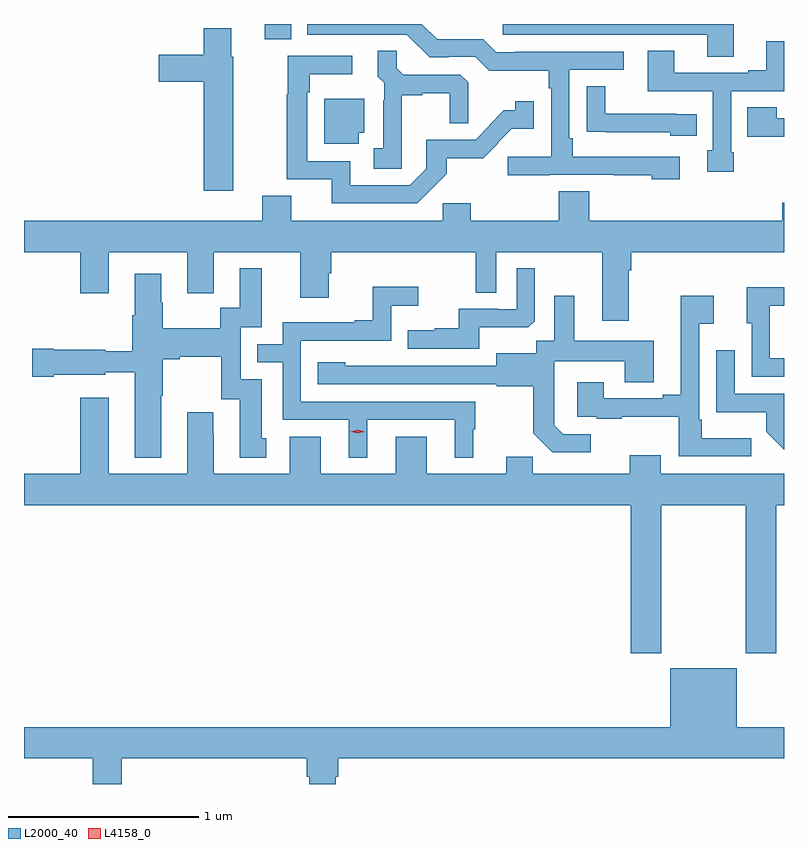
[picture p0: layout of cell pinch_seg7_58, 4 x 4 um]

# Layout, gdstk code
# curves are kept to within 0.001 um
import gdstk
lib = gdstk.Library(unit=1e-6, precision=1e-09)
def R(c, l, rs):  # rectangles x0, y0, x1, y1
    for r in rs: c.add(gdstk.rectangle(r[:2], r[2:], *l))
def P(c, l, *ps):  # polygons
    for p in ps: c.add(gdstk.Polygon(p, *l))
L2000_40 = (2000, 40)
L4158_0 = (4158, 0)

pinch_seg7_58 = lib.new_cell('pinch_seg7_58')
R(pinch_seg7_58, L2000_40, [(890.723,1052.352,890.863,1052.432)])
P(pinch_seg7_58, L2000_40, [(893.191,1052.432),(891.975,1052.432),(891.975,1052.376),(893.051,1052.376),(893.051,1052.26),(893.191,1052.26)],
  [(892.906,1051.734),(892.343,1051.734),(892.343,1051.831),(892.326,1051.831),(892.326,1052.19),(892.612,1052.19),(892.612,1052.286),(892.042,1052.286),(892.042,1052.283),(891.942,1052.283),(891.873,1052.352),(891.63,1052.352),(891.55,1052.432),(890.948,1052.432),(890.948,1052.376),(891.471,1052.376),(891.591,1052.256),(891.692,1052.256),(891.692,1052.259),(891.831,1052.259),(891.904,1052.186),(892.218,1052.186),(892.218,1052.093),(892.23,1052.093),(892.23,1051.735),(892.002,1051.734),(892.002,1051.636),(892.223,1051.636),(892.223,1051.638),(892.561,1051.638),(892.561,1051.636),(892.761,1051.636),(892.761,1051.616),(892.906,1051.616)],
  [(890.556,1052.259),(890.548,1052.259),(890.548,1052.41),(890.402,1052.41),(890.402,1052.271),(890.166,1052.271),(890.166,1052.129),(890.402,1052.129),(890.402,1051.554),(890.556,1051.554)],
  [(893.191,1051.758),(893.178,1051.758),(893.178,1052.079),(893.456,1052.079),(893.456,1052.341),(893.363,1052.341),(893.363,1052.188),(893.267,1052.188),(893.267,1052.175),(892.879,1052.175),(892.879,1052.291),(892.739,1052.291),(892.739,1052.079),(893.082,1052.079),(893.082,1051.768),(893.051,1051.768),(893.051,1051.654),(893.191,1051.654)],
  [(891.444,1052.058),(891.553,1052.058),(891.553,1052.068),(891.698,1052.068),(891.698,1051.909),(891.794,1051.909),(891.794,1052.125),(891.753,1052.166),(891.451,1052.166),(891.417,1052.2),(891.417,1052.291),(891.319,1052.291),(891.319,1052.155),(891.351,1052.123),(891.351,1052.03),(891.348,1052.03),(891.348,1051.779),(891.297,1051.779),(891.297,1051.669),(891.444,1051.669)],
  [(891.682,1051.643),(891.682,1051.726),(891.874,1051.726),(891.952,1051.805),(891.95,1051.808),(892.022,1051.88),(892.14,1051.88),(892.14,1052.026),(892.042,1052.026),(892.042,1051.978),(891.982,1051.978),(891.905,1051.9),(891.908,1051.898),(891.834,1051.824),(891.573,1051.824),(891.573,1051.671),(891.486,1051.584),(891.174,1051.584),(891.174,1051.71),(890.946,1051.71),(890.946,1052.072),(890.959,1052.072),(890.959,1052.168),(891.184,1052.168),(891.184,1052.265),(890.845,1052.265),(890.845,1052.062),(890.838,1052.062),(890.838,1051.614),(891.077,1051.614),(891.077,1051.488),(891.526,1051.488)],
  [(892.997,1051.957),(892.889,1051.957),(892.889,1051.959),(892.515,1051.959),(892.515,1052.105),(892.417,1052.105),(892.417,1051.864),(892.519,1051.864),(892.519,1051.863),(892.857,1051.863),(892.857,1051.844),(892.997,1051.844)],
  [(891.219,1051.86),(891.247,1051.86),(891.247,1052.038),(891.035,1052.038),(891.035,1051.803),(891.219,1051.803)],
  [(893.456,1051.935),(893.417,1051.935),(893.417,1051.994),(893.263,1051.994),(893.263,1051.839),(893.456,1051.839)],
  [(892.639,1051.136),(892.652,1051.136),(892.652,1051.232),(893.456,1051.232),(893.456,1051.492),(893.447,1051.492),(893.447,1051.396),(892.43,1051.396),(892.43,1051.553),(892.27,1051.553),(892.27,1051.396),(891.807,1051.396),(891.807,1051.489),(891.66,1051.489),(891.66,1051.396),(890.863,1051.396),(890.863,1051.529),(890.711,1051.529),(890.711,1051.396),(889.456,1051.396),(889.456,1051.232),(889.751,1051.232),(889.751,1051.014),(889.903,1051.014),(889.903,1051.232),(890.315,1051.232),(890.315,1051.014),(890.455,1051.014),(890.455,1051.232),(890.909,1051.232),(890.909,1050.99),(891.061,1050.99),(891.061,1051.119),(891.074,1051.119),(891.074,1051.232),(891.834,1051.232),(891.834,1051.018),(891.942,1051.018),(891.942,1051.232),(892.499,1051.232),(892.499,1050.87),(892.639,1050.87)],
  [(891.853,1050.836),(892.111,1050.836),(892.143,1050.867),(892.143,1051.147),(892.05,1051.147),(892.05,1050.93),(891.95,1050.93),(891.95,1050.933),(891.743,1050.933),(891.743,1050.832),(891.619,1050.832),(891.619,1050.82),(891.475,1050.82),(891.475,1050.723),(891.853,1050.723)],
  [(890.179,1050.475),(890.187,1050.475),(890.187,1050.668),(890.275,1050.668),(890.275,1050.68),(890.495,1050.68),(890.495,1050.456),(890.591,1050.456),(890.591,1050.15),(890.731,1050.15),(890.731,1050.252),(890.707,1050.252),(890.707,1050.561),(890.598,1050.561),(890.598,1050.837),(890.707,1050.837),(890.707,1051.147),(890.591,1051.147),(890.591,1050.938),(890.49,1050.938),(890.49,1050.832),(890.187,1050.832),(890.187,1050.966),(890.179,1050.966),(890.179,1051.117),(890.039,1051.117),(890.039,1050.899),(890.027,1050.899),(890.027,1050.709),(889.884,1050.709),(889.884,1050.717),(889.612,1050.717),(889.612,1050.722),(889.5,1050.722),(889.5,1050.575),(889.612,1050.575),(889.612,1050.587),(889.884,1050.587),(889.884,1050.599),(890.039,1050.599),(890.039,1050.149),(890.179,1050.149)],
  [(891.262,1050.348),(891.722,1050.348),(891.722,1050.149),(891.82,1050.149),(891.82,1050.3),(891.832,1050.3),(891.832,1050.444),(890.913,1050.444),(890.913,1050.765),(891.39,1050.765),(891.39,1050.95),(891.532,1050.95),(891.532,1051.049),(891.292,1051.049),(891.292,1050.874),(891.197,1050.874),(891.197,1050.861),(890.817,1050.861),(890.817,1050.747),(890.683,1050.747),(890.683,1050.651),(890.817,1050.651),(890.817,1050.348),(891.164,1050.348),(891.164,1050.149),(891.262,1050.149)],
  [(893.456,1050.672),(893.382,1050.672),(893.382,1050.948),(893.456,1050.948),(893.456,1051.046),(893.261,1051.046),(893.261,1050.858),(893.286,1050.858),(893.286,1050.576),(893.456,1050.576)],
  [(892.438,1050.273),(892.293,1050.273),(892.246,1050.32),(892.246,1050.415),(892.248,1050.415),(892.248,1050.656),(892.619,1050.656),(892.619,1050.547),(892.771,1050.547),(892.771,1050.766),(892.351,1050.766),(892.351,1051.003),(892.247,1051.003),(892.247,1050.764),(892.152,1050.764),(892.152,1050.7),(891.941,1050.7),(891.941,1050.633),(891.147,1050.634),(891.147,1050.652),(891.003,1050.652),(891.003,1050.537),(891.945,1050.537),(891.945,1050.525),(892.137,1050.525),(892.137,1050.279),(892.237,1050.179),(892.438,1050.179)],
  [(893.284,1050.253),(893.023,1050.253),(893.023,1050.349),(893.01,1050.349),(893.01,1050.854),(893.086,1050.854),(893.086,1051.003),(892.913,1051.003),(892.913,1050.481),(892.817,1050.481),(892.817,1050.462),(892.507,1050.462),(892.507,1050.547),(892.367,1050.547),(892.367,1050.366),(892.471,1050.366),(892.471,1050.354),(892.603,1050.354),(892.603,1050.365),(892.902,1050.365),(892.902,1050.156),(893.284,1050.156)],
  [(893.456,1050.486),(893.196,1050.486),(893.196,1050.715),(893.1,1050.715),(893.1,1050.389),(893.362,1050.389),(893.362,1050.287),(893.456,1050.192)],
  [(892.809,1049.9),(893.254,1049.9),(893.254,1049.121),(893.414,1049.121),(893.414,1049.9),(893.456,1049.9),(893.456,1050.064),(892.807,1050.064),(892.807,1050.163),(892.643,1050.163),(892.643,1050.064),(892.133,1050.064),(892.133,1050.155),(891.995,1050.155),(891.995,1050.064),(891.577,1050.064),(891.577,1050.259),(891.413,1050.259),(891.413,1050.064),(891.019,1050.064),(891.019,1050.259),(890.855,1050.259),(890.855,1050.064),(890.455,1050.064),(890.455,1050.275),(890.452,1050.275),(890.452,1050.388),(890.315,1050.388),(890.315,1050.064),(889.903,1050.064),(889.903,1050.466),(889.751,1050.466),(889.751,1050.064),(889.456,1050.064),(889.456,1049.9),(892.649,1049.9),(892.649,1049.121),(892.809,1049.121)],
  [(889.97,1048.568),(890.945,1048.568),(890.945,1048.47),(890.957,1048.47),(890.957,1048.432),(891.097,1048.432),(891.097,1048.47),(891.11,1048.47),(891.11,1048.568),(893.456,1048.568),(893.456,1048.732),(893.206,1048.732),(893.206,1049.041),(892.856,1049.041),(892.856,1048.732),(889.456,1048.732),(889.456,1048.568),(889.817,1048.568),(889.817,1048.432),(889.97,1048.432)])
P(pinch_seg7_58, L4158_0, [(891.213,1050.277),(891.177,1050.287),(891.177,1050.287),(891.177,1050.287),(891.213,1050.297),(891.248,1050.287),(891.249,1050.287),(891.248,1050.287)])

lib.write_gds('pinch_seg7_58.gds')
